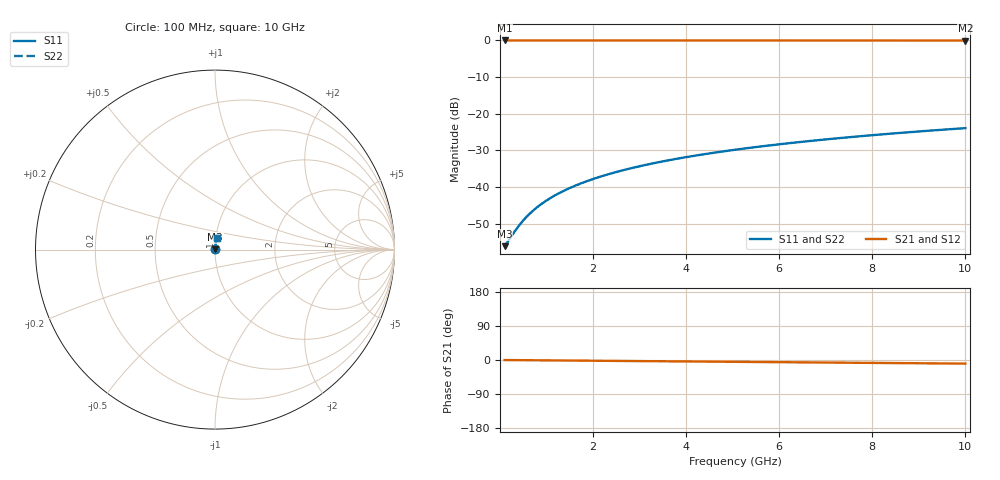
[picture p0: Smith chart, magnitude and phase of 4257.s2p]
# Hz S RI R 50.00
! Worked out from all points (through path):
!   100 points, 100 MHz to 10 GHz, reference 50 ohm
!   highest |S21| = -0.01 dB at 100 MHz (marker M1); lowest = 0.0 dB at 10 GHz (marker M2)
!   group delay of S21, straight-line fit = 2.65 ps
!   lowest |S11| = -56.1 dB at 100 MHz (marker M3), VSWR 1.00, Z = 50.1 + j0.0638 ohm
!   |S11| at or under -10 dB: start of sweep to end of sweep
!   |S22| runs from -56.1 to -23.9 dB; largest |S21 - S12| = 0
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1e8  0.00143 0.000637  0.9986 -0.00166  0.9986 -0.00166  0.00143 0.000637
2e8  0.00144 0.00127  0.9986 -0.00332  0.9986 -0.00332  0.00144 0.00127
3e8  0.00145 0.00191  0.9985 -0.00499  0.9985 -0.00499  0.00145 0.00191
4e8  0.00146 0.00255  0.9985 -0.00665  0.9985 -0.00665  0.00146 0.00255
5e8  0.00148 0.00318  0.9985 -0.00831  0.9985 -0.00831  0.00148 0.00318
6e8  0.00149 0.00382  0.9985 -0.00997  0.9985 -0.00997  0.00149 0.00382
7e8  0.00151 0.00446  0.9985 -0.0116  0.9985 -0.0116  0.00151 0.00446
8e8  0.00153 0.00509  0.9984 -0.0133  0.9984 -0.0133  0.00153 0.00509
1e9  0.00157 0.00636  0.9984 -0.0166  0.9984 -0.0166  0.00157 0.00636
1.2e9  0.00162 0.00764  0.9983 -0.0199  0.9983 -0.0199  0.00162 0.00764
1.5e9  0.00172 0.00954  0.9981 -0.0249  0.9981 -0.0249  0.00172 0.00954
1.8e9  0.00183 0.0114  0.998 -0.0299  0.998 -0.0299  0.00183 0.0114
2.1e9  0.00196 0.0134  0.9978 -0.0349  0.9978 -0.0349  0.00196 0.0134
2.5e9  0.00216 0.0159  0.9975 -0.0415  0.9975 -0.0415  0.00216 0.0159
2.9e9  0.00239 0.0184  0.9971 -0.0482  0.9971 -0.0482  0.00239 0.0184
3.4e9  0.00273 0.0216  0.9966 -0.0565  0.9966 -0.0565  0.00273 0.0216
4.2e9  0.00338 0.0266  0.9956 -0.0697  0.9956 -0.0697  0.00338 0.0266
5.1e9  0.00428 0.0323  0.9943 -0.0846  0.9943 -0.0846  0.00428 0.0323
5.9e9  0.00522 0.0373  0.9929 -0.0979  0.9929 -0.0979  0.00522 0.0373
6.7e9  0.00629 0.0423  0.9913 -0.1111  0.9913 -0.1111  0.00629 0.0423
8.4e9  0.009 0.0528  0.9872 -0.1391  0.9872 -0.1391  0.009 0.0528
1e10  0.0121 0.0625  0.9825 -0.1653  0.9825 -0.1653  0.0121 0.0625
